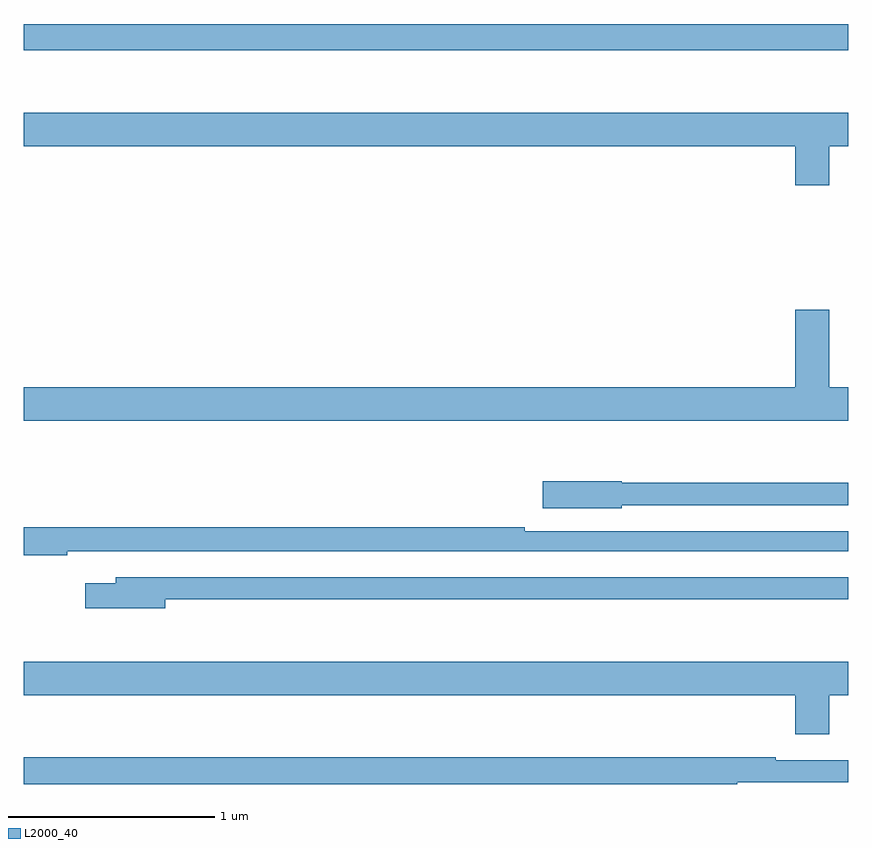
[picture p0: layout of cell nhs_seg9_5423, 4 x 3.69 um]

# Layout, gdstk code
import gdstk
lib = gdstk.Library(unit=1e-6, precision=1e-09)
def R(c, l, rs):  # rectangles x0, y0, x1, y1
    for r in rs: c.add(gdstk.rectangle(r[:2], r[2:], *l))
def P(c, l, *ps):  # polygons
    for p in ps: c.add(gdstk.Polygon(p, *l))
L2000_40 = (2000, 40)

nhs_seg9_5423 = lib.new_cell('nhs_seg9_5423')
R(nhs_seg9_5423, L2000_40, [(425,1238.178,429,1238.306)])
P(nhs_seg9_5423, L2000_40, [(428.908,1237.712),(429,1237.712),(429,1237.876),(425,1237.876),(425,1237.712),(428.744,1237.712),(428.744,1237.524),(428.908,1237.524)],
  [(429,1236.544),(428.908,1236.544),(428.908,1236.919),(428.744,1236.919),(428.744,1236.544),(425,1236.544),(425,1236.38),(429,1236.38)],
  [(427.902,1235.97),(429,1235.97),(429,1236.079),(427.902,1236.079),(427.902,1236.087),(427.518,1236.087),(427.518,1235.957),(427.902,1235.957)],
  [(425.21,1235.748),(429,1235.748),(429,1235.844),(427.43,1235.844),(427.43,1235.864),(425,1235.864),(425,1235.728),(425.21,1235.728)],
  [(425.686,1235.514),(429,1235.514),(429,1235.622),(425.447,1235.622),(425.447,1235.593),(425.298,1235.593),(425.298,1235.471),(425.686,1235.471)],
  [(428.908,1235.048),(429,1235.048),(429,1235.212),(425,1235.212),(425,1235.048),(428.744,1235.048),(428.744,1234.86),(428.908,1234.86)],
  [(428.462,1234.626),(429,1234.626),(429,1234.734),(428.648,1234.734),(428.648,1234.747),(425,1234.747),(425,1234.618),(428.462,1234.618)])

lib.write_gds('nhs_seg9_5423.gds')
